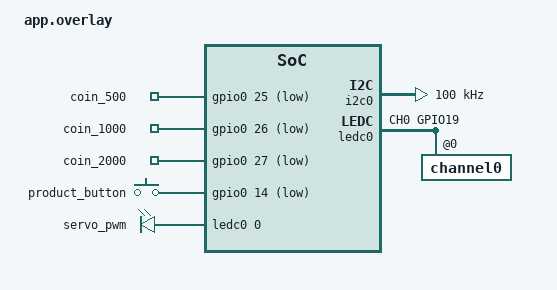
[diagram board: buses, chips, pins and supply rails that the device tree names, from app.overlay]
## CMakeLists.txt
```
cmake_minimum_required(VERSION 3.20.0)

find_package(Zephyr REQUIRED HINTS $ENV{ZEPHYR_BASE})

project(vending_machine)

target_sources(app PRIVATE
    src/main.c
    src/state_machine.c
    src/button.c
    src/lcd.c
    src/servo.c
)
```

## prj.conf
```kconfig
# GPIO
CONFIG_GPIO=y

# I2C untuk LCD
CONFIG_I2C=y

# PWM untuk servo
CONFIG_PWM=y

# Multithreading
CONFIG_MULTITHREADING=y

# Console dan debugging
CONFIG_SERIAL=y
CONFIG_CONSOLE=y
CONFIG_UART_CONSOLE=y
CONFIG_PRINTK=y

# Stack
CONFIG_MAIN_STACK_SIZE=4096
CONFIG_SYSTEM_WORKQUEUE_STACK_SIZE=2048

# Heap
CONFIG_HEAP_MEM_POOL_SIZE=1024
```

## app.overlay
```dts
#include <zephyr/dt-bindings/gpio/gpio.h>
#include <zephyr/dt-bindings/pinctrl/esp32-pinctrl.h>
#include <zephyr/dt-bindings/pwm/pwm.h>
#include <zephyr/dt-bindings/i2c/i2c.h>

/ {
    aliases {
        coin-500 = &coin_500;
        coin-1000 = &coin_1000;
        coin-2000 = &coin_2000;
        product-button = &product_button;
        servo-pwm = &servo_pwm;
    };

    buttons {
        compatible = "gpio-keys";

        coin_500: coin_500 {
            gpios = <&gpio0 25 (GPIO_ACTIVE_LOW | GPIO_PULL_UP)>;
        };

        coin_1000: coin_1000 {
            gpios = <&gpio0 26 (GPIO_ACTIVE_LOW | GPIO_PULL_UP)>;
        };

        coin_2000: coin_2000 {
            gpios = <&gpio0 27 (GPIO_ACTIVE_LOW | GPIO_PULL_UP)>;
        };

        product_button: product_button {
            gpios = <&gpio0 14 (GPIO_ACTIVE_LOW | GPIO_PULL_UP)>;
        };
    };

    pwmleds {
        compatible = "pwm-leds";

        servo_pwm: servo_pwm {
            pwms = <&ledc0 0 20000000 PWM_POLARITY_NORMAL>;
        };
    };
};

/* Konfigurasi I2C LCD */
&pinctrl {
    i2c0_custom: i2c0_custom {
        group1 {
            pinmux = <I2C0_SDA_GPIO21>,
                     <I2C0_SCL_GPIO22>;
            bias-pull-up;
        };
    };

    ledc0_custom: ledc0_custom {
        group1 {
            pinmux = <LEDC_CH0_GPIO19>;
            output-enable;
        };
    };
};

&i2c0 {
    status = "okay";
    clock-frequency = <I2C_BITRATE_STANDARD>;

    pinctrl-0 = <&i2c0_custom>;
    pinctrl-names = "default";
};

/* Konfigurasi PWM ESP32 */
&ledc0 {
    status = "okay";

    pinctrl-0 = <&ledc0_custom>;
    pinctrl-names = "default";

    #address-cells = <1>;
    #size-cells = <0>;

    channel0@0 {
        reg = <0>;
        timer = <0>;
    };
};
```

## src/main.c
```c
#include <zephyr/kernel.h>
#include <zephyr/sys/printk.h>

#include "button.h"
#include "lcd.h"
#include "servo.h"
#include "state_machine.h"

#define INPUT_STACK_SIZE 2048
#define INPUT_PRIORITY 4

K_THREAD_STACK_DEFINE(
    input_stack,
    INPUT_STACK_SIZE
);

static struct k_thread input_thread_data;

/* Thread pembacaan tombol */
static void input_thread(void *arg1,
                         void *arg2,
                         void *arg3)
{
    ARG_UNUSED(arg1);
    ARG_UNUSED(arg2);
    ARG_UNUSED(arg3);

    button_event_t event;

    while (1) {

        int ret = button_read_event(&event);

        if (ret == 1) {

            int queue_ret =
                state_machine_post_event(event);

            if (queue_ret < 0) {
                printk("Event queue penuh!\n");
            }
        }

        else if (ret < 0) {

            printk(
                "Error membaca tombol: %d\n",
                ret
            );

            k_msleep(100);
        }

        k_msleep(20);
    }
}

int main(void)
{
    int ret;

    printk("\n");
    printk("============================\n");
    printk("  VENDING MACHINE ZEPHYR\n");
    printk("============================\n");

    /* Inisialisasi tombol */
    ret = button_init();

    if (ret < 0) {

        printk("Button initialization failed\n");

        return ret;
    }

    printk("Button initialized\n");

    /* Inisialisasi LCD */
    ret = lcd_init();

    if (ret < 0) {

        printk("LCD initialization failed\n");

        return ret;
    }

    printk("LCD initialized\n");

    /* Inisialisasi servo */
    ret = servo_init();

    if (ret < 0) {

        printk("Servo initialization failed\n");

        return ret;
    }

    printk("Servo initialized\n");

    /* Membuat input thread */
    k_thread_create(
        &input_thread_data,
        input_stack,
        K_THREAD_STACK_SIZEOF(input_stack),
        input_thread,
        NULL,
        NULL,
        NULL,
        INPUT_PRIORITY,
        0,
        K_NO_WAIT
    );

    printk("Input thread started\n");

    /* Main thread menjalankan FSM */
    state_machine_run();

    return 0;
}
```

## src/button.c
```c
#include "button.h"

#include <zephyr/kernel.h>
#include <zephyr/device.h>
#include <zephyr/drivers/gpio.h>
#include <zephyr/devicetree.h>

#define BUTTON_DEBOUNCE_MS 50

#define COIN500_NODE DT_ALIAS(coin_500)
#define COIN1000_NODE DT_ALIAS(coin_1000)
#define COIN2000_NODE DT_ALIAS(coin_2000)
#define PRODUCT_NODE DT_ALIAS(product_button)

static const struct gpio_dt_spec coin500 =
    GPIO_DT_SPEC_GET(COIN500_NODE, gpios);

static const struct gpio_dt_spec coin1000 =
    GPIO_DT_SPEC_GET(COIN1000_NODE, gpios);

static const struct gpio_dt_spec coin2000 =
    GPIO_DT_SPEC_GET(COIN2000_NODE, gpios);

static const struct gpio_dt_spec product =
    GPIO_DT_SPEC_GET(PRODUCT_NODE, gpios);

static const struct gpio_dt_spec *buttons[] = {
    &coin500,
    &coin1000,
    &coin2000,
    &product
};

int button_init(void)
{
    for (int i = 0; i < 4; i++) {

        if (!gpio_is_ready_dt(buttons[i])) {
            return -ENODEV;
        }

        int ret = gpio_pin_configure_dt(
            buttons[i],
            GPIO_INPUT
        );

        if (ret < 0) {
            return ret;
        }
    }

    return 0;
}

int button_read_event(button_event_t *event)
{
    if (event == NULL) {
        return -EINVAL;
    }

    for (int i = 0; i < 4; i++) {

        int value = gpio_pin_get_dt(buttons[i]);

        if (value < 0) {
            return value;
        }

        if (value == 1) {

            k_msleep(BUTTON_DEBOUNCE_MS);

            value = gpio_pin_get_dt(buttons[i]);

            if (value == 1) {

                switch (i) {

                    case 0:
                        *event = EVENT_COIN_500;
                        break;

                    case 1:
                        *event = EVENT_COIN_1000;
                        break;

                    case 2:
                        *event = EVENT_COIN_2000;
                        break;

                    case 3:
                        *event = EVENT_PRODUCT;
                        break;
                }

                /* Tunggu sampai tombol dilepas */
                do {
                    k_msleep(10);
                    value = gpio_pin_get_dt(buttons[i]);
                } while (value == 1);

                return 1;
            }
        }
    }

    return 0;
}
```

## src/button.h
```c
#ifndef BUTTON_H
#define BUTTON_H

#include <stdint.h>

typedef enum {
    EVENT_COIN_500,
    EVENT_COIN_1000,
    EVENT_COIN_2000,
    EVENT_PRODUCT
} button_event_t;

int button_init(void);

int button_read_event(button_event_t *event);

#endif
```

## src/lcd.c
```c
#include "lcd.h"

#include <zephyr/kernel.h>
#include <zephyr/device.h>
#include <zephyr/drivers/i2c.h>
#include <zephyr/devicetree.h>

#define LCD_ADDR 0x27

#define LCD_RS 0x01
#define LCD_EN 0x04
#define LCD_BACKLIGHT 0x08

static const struct device *i2c_dev =
    DEVICE_DT_GET(DT_NODELABEL(i2c0));

static int lcd_write_byte(uint8_t data)
{
    return i2c_write(
        i2c_dev,
        &data,
        1,
        LCD_ADDR
    );
}

static int lcd_write_nibble(uint8_t data)
{
    int ret;
    data |= LCD_BACKLIGHT;
    ret = lcd_write_byte(data | LCD_EN);
    if (ret < 0) {
        return ret;
    }
    k_busy_wait(1);
    ret = lcd_write_byte(data & ~LCD_EN);
    k_busy_wait(50);
    return ret;
}

static int lcd_send(uint8_t value, uint8_t mode)
{
    int ret;

    uint8_t high = (value & 0xF0) | mode;
    uint8_t low = ((value << 4) & 0xF0) | mode;

    ret = lcd_write_nibble(high);

    if (ret < 0) {
        return ret;
    }

    return lcd_write_nibble(low);
}

static int lcd_command(uint8_t command)
{
    return lcd_send(command, 0);
}

static int lcd_data(uint8_t data)
{
    return lcd_send(data, LCD_RS);
}

int lcd_init(void)
{
    if (!device_is_ready(i2c_dev)) {
        return -ENODEV;
    }

    k_msleep(50);

    int ret;

    ret = lcd_write_nibble(0x30);
    if (ret < 0) return ret;

    k_msleep(5);

    ret = lcd_write_nibble(0x30);
    if (ret < 0) return ret;

    k_busy_wait(150);

    ret = lcd_write_nibble(0x30);
    if (ret < 0) return ret;

    ret = lcd_write_nibble(0x20);
    if (ret < 0) return ret;

    ret = lcd_command(0x28);
    if (ret < 0) return ret;

    ret = lcd_command(0x0C);
    if (ret < 0) return ret;

    ret = lcd_command(0x06);
    if (ret < 0) return ret;

    return lcd_clear();
}

int lcd_clear(void)
{
    int ret = lcd_command(0x01);

    k_msleep(2);

    return ret;
}

int lcd_set_cursor(uint8_t row, uint8_t col)
{
    uint8_t address;

    if (row > 1 || col > 15) {
        return -EINVAL;
    }

    address = (row == 0) ? col : (0x40 + col);

    return lcd_command(0x80 | address);
}

int lcd_print(const char *text)
{
    if (text == NULL) {
        return -EINVAL;
    }

    while (*text) {

        int ret = lcd_data((uint8_t)*text);

        if (ret < 0) {
            return ret;
        }

        text++;
    }

    return 0;
}

int lcd_print_at(uint8_t row, uint8_t col,
                 const char *text)
{
    int ret = lcd_set_cursor(row, col);

    if (ret < 0) {
        return ret;
    }

    return lcd_print(text);
}
void lcd_clear_line(uint8_t row)
{
    lcd_set_cursor(row, 0);
    lcd_print("                "); // 16 spasi
}
```

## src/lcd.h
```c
#ifndef LCD_H
#define LCD_H

#include <stdint.h>
void lcd_clear_line(uint8_t row);
int lcd_init(void);

int lcd_clear(void);

int lcd_set_cursor(uint8_t row, uint8_t col);

int lcd_print(const char *text);

int lcd_print_at(uint8_t row, uint8_t col,
                 const char *text);

#endif
```

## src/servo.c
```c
#include "servo.h"

#include <zephyr/kernel.h>
#include <zephyr/device.h>
#include <zephyr/drivers/pwm.h>
#include <zephyr/devicetree.h>

#define SERVO_PERIOD_NS 20000000U

#define SERVO_MIN_PULSE_US 500
#define SERVO_MAX_PULSE_US 2400

static const struct pwm_dt_spec servo =
    PWM_DT_SPEC_GET(DT_ALIAS(servo_pwm));

int servo_init(void)
{
    if (!pwm_is_ready_dt(&servo)) {
        return -ENODEV;
    }

    return servo_set_angle(0);
}

int servo_set_angle(int angle)
{
    if (angle < 0) {
        angle = 0;
    }

    if (angle > 180) {
        angle = 180;
    }

    uint32_t pulse_us =
        SERVO_MIN_PULSE_US +
        ((SERVO_MAX_PULSE_US - SERVO_MIN_PULSE_US)
        * angle / 180);

    uint32_t pulse_ns = pulse_us * 1000U;

    return pwm_set_dt(
        &servo,
        SERVO_PERIOD_NS,
        pulse_ns
    );
}

int servo_dispense(void)
{
    int ret;

    /* Posisi awal */
    ret = servo_set_angle(0);

    if (ret < 0) {
        return ret;
    }

    k_msleep(500);

    /* Membuka mekanisme */
    ret = servo_set_angle(90);

    if (ret < 0) {
        return ret;
    }

    k_msleep(1500);

    /* Menutup mekanisme */
    ret = servo_set_angle(0);

    if (ret < 0) {
        return ret;
    }

    k_msleep(500);

    return 0;
}
```

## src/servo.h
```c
#ifndef SERVO_H
#define SERVO_H

int servo_init(void);

int servo_set_angle(int angle);

int servo_dispense(void);

#endif
```

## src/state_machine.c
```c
#include "state_machine.h"
#include "lcd.h"
#include "servo.h"

#include <zephyr/kernel.h>
#include <zephyr/sys/printk.h>

#include <stdio.h>
#include <string.h>

#define PRODUCT_PRICE 5000

#define MESSAGE_QUEUE_SIZE 10

K_MSGQ_DEFINE(
    event_queue,
    sizeof(button_event_t),
    MESSAGE_QUEUE_SIZE,
    4
);

static vending_state_t current_state = STATE_IDLE;

static int balance = 0;

static int change = 0;

/* Mengirim event ke message queue */
int state_machine_post_event(button_event_t event)
{
    return k_msgq_put(
        &event_queue,
        &event,
        K_NO_WAIT
    );
}

/* Menampilkan dua baris LCD */
static void lcd_show(const char *line1,
                     const char *line2)
{
    char buffer[17];

    memset(buffer, ' ', 16);
    buffer[16] = '\0';

    strncpy(buffer, line1, 16);

    lcd_print_at(0, 0, buffer);

    memset(buffer, ' ', 16);
    buffer[16] = '\0';

    strncpy(buffer, line2, 16);

    lcd_print_at(1, 0, buffer);
}

/* Menampilkan harga dan saldo */
static void display_balance(void)
{
    char line1[17];
    char line2[17];

    snprintf(
        line1,
        sizeof(line1),
        "Harga: Rp%d    ",
        PRODUCT_PRICE
    );

    snprintf(
        line2,
        sizeof(line2),
        "Saldo: Rp%d    ",
        balance
    );

    lcd_show(line1, line2);
}

/* Menghitung nominal uang */
static int get_coin_value(button_event_t event)
{
    switch (event) {

        case EVENT_COIN_500:
            return 500;

        case EVENT_COIN_1000:
            return 1000;

        case EVENT_COIN_2000:
            return 2000;

        default:
            return 0;
    }
}

/* Memproses input pengguna */
static void process_event(button_event_t event)
{
    int coin = get_coin_value(event);

    /* STATE IDLE dan CREDIT */
    if (current_state == STATE_IDLE ||
        current_state == STATE_CREDIT) {

        if (coin > 0) {

            balance += coin;

            current_state = STATE_CREDIT;

            printk("Saldo: Rp%d    \n", balance);

            display_balance();

            return;
        }
    }

    /* Pemilihan produk */
    if (event == EVENT_PRODUCT) {

        if (balance >= PRODUCT_PRICE) {

            current_state = STATE_DISPENSE;

        } else {

            lcd_show(

                "Saldo kurang!    ",
                "Masukkan koin   "
            );

            k_msleep(1200);

            current_state =
                (balance > 0) ?
                STATE_CREDIT : STATE_IDLE;

            display_balance();
        }
    }
}

/* Menjalankan proses pengeluaran barang */
static void process_dispense(void)
{
    printk("Memproses produk...\n");

    lcd_show(

        "Memproses...",
        "Tunggu sebentar"
    );

    int ret = servo_dispense();

    if (ret < 0) {

        lcd_show(

            "Servo error!      ",
            "Transaksi batal  "
        );

        printk("Servo error: %d\n", ret);

        balance = 0;
        change = 0;

        current_state = STATE_IDLE;

        k_msleep(2000);

        return;
    }

    current_state = STATE_COMPLETE;
}

/* Menyelesaikan transaksi */
static void process_complete(void)
{
    change = balance - PRODUCT_PRICE;

    char line2[17];

    snprintf(
        line2,
        sizeof(line2),
        "Kembali:%d     ",
        change
    );

    lcd_show(
        "Transaksi OK!    ",
        line2
    );

    printk("Transaksi selesai\n");
    printk("Harga: Rp%d    \n", PRODUCT_PRICE);
    printk("Saldo: Rp%d    \n", balance);
    printk("Kembalian: Rp%d    \n", change);

    k_msleep(2500);

    /* Reset transaksi */
    balance = 0;
    change = 0;

    current_state = STATE_IDLE;

    /* Buang event lama saat transaksi berlangsung */
    k_msgq_purge(&event_queue);

    lcd_show(
      
        "VENDING MACHINE",
        "Masukkan koin"
    );
}

/* Menjalankan FSM */
void state_machine_run(void)
{
    button_event_t event;

    lcd_show(

        "VENDING MACHINE",
        "Masukkan koin"
    );

    while (1) {

        switch (current_state) {

            case STATE_IDLE:

                if (k_msgq_get(
                    &event_queue,
                    &event,
                    K_MSEC(100)
                ) == 0) {

                    process_event(event);
                }

                break;

            case STATE_CREDIT:

                if (k_msgq_get(
                    &event_queue,
                    &event,
                    K_MSEC(100)
                ) == 0) {

                    process_event(event);
                }

                break;

            case STATE_DISPENSE:

                process_dispense();

                break;

            case STATE_COMPLETE:

                process_complete();

                break;

            default:

                balance = 0;

                current_state = STATE_IDLE;

                break;
        }
    }
}
```

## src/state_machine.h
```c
#ifndef STATE_MACHINE_H
#define STATE_MACHINE_H

#include "button.h"

typedef enum {
    STATE_IDLE,
    STATE_CREDIT,
    STATE_DISPENSE,
    STATE_COMPLETE
} vending_state_t;

int state_machine_post_event(button_event_t event);

void state_machine_run(void);

#endif
```
